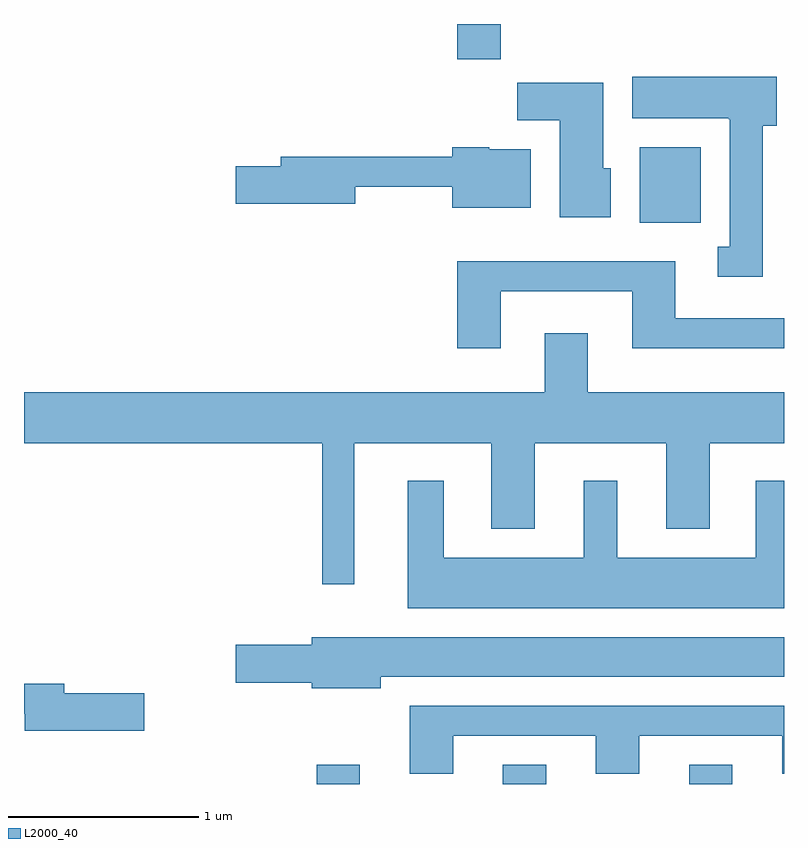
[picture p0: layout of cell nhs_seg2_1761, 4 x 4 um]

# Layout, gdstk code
import gdstk
lib = gdstk.Library(unit=1e-6, precision=1e-09)
def R(c, l, rs):  # rectangles x0, y0, x1, y1
    for r in rs: c.add(gdstk.rectangle(r[:2], r[2:], *l))
def A(c, l, x, y, w, h, nx, ny, dx, dy):  # array of equal rectangles
    R(c, l, [(x+i*dx, y+j*dy, x+i*dx+w, y+j*dy+h) for i in range(nx) for j in range(ny)])
def P(c, l, *ps):  # polygons
    for p in ps: c.add(gdstk.Polygon(p, *l))
L2000_40 = (2000, 40)

nhs_seg2_1761 = lib.new_cell('nhs_seg2_1761')
A(nhs_seg2_1761, L2000_40, 237.151, 1099.802, 0.228, 0.102, 3, 1, 0.98, 0)
R(nhs_seg2_1761, L2000_40, [(238.851,1102.756,239.174,1103.154), (237.891,1103.616,238.119,1103.802)])
P(nhs_seg2_1761, L2000_40, [(239.499,1103.266),(239.574,1103.266),(239.574,1103.524),(238.811,1103.524),(238.811,1103.306),(239.32,1103.306),(239.32,1103.3),(239.326,1103.3),(239.326,1102.629),(239.263,1102.629),(239.263,1102.471),(239.499,1102.471)],
  [(238.699,1103.044),(238.659,1103.044),(238.659,1103.494),(238.206,1103.494),(238.206,1103.296),(238.431,1103.296),(238.431,1102.786),(238.699,1102.786)],
  [(238.279,1103.144),(238.06,1103.144),(238.06,1103.154),(237.866,1103.154),(237.866,1103.104),(236.961,1103.104),(236.961,1103.054),(236.726,1103.054),(236.726,1102.856),(237.354,1102.856),(237.354,1102.946),(237.866,1102.946),(237.866,1102.836),(238.279,1102.836)],
  [(238.119,1102.396),(238.811,1102.396),(238.811,1102.096),(239.611,1102.096),(239.611,1102.254),(239.039,1102.254),(239.039,1102.554),(237.891,1102.554),(237.891,1102.096),(238.119,1102.096)],
  [(238.991,1101.146),(239.219,1101.146),(239.219,1101.596),(239.611,1101.596),(239.611,1101.864),(238.579,1101.864),(238.579,1102.174),(238.351,1102.174),(238.351,1101.864),(235.611,1101.864),(235.611,1101.596),(237.181,1101.596),(237.181,1100.853),(237.349,1100.853),(237.349,1101.596),(238.071,1101.596),(238.071,1101.146),(238.299,1101.146),(238.299,1101.596),(238.991,1101.596)],
  [(239.611,1101.399),(239.461,1101.399),(239.461,1100.994),(238.734,1100.994),(238.734,1101.399),(238.556,1101.399),(238.556,1100.994),(237.819,1100.994),(237.819,1101.399),(237.631,1101.399),(237.631,1100.726),(239.611,1100.726)],
  [(237.489,1100.366),(239.611,1100.366),(239.611,1100.574),(237.126,1100.574),(237.126,1100.534),(236.726,1100.534),(236.726,1100.336),(237.126,1100.336),(237.126,1100.306),(237.489,1100.306)],
  [(236.244,1100.279),(235.824,1100.279),(235.824,1100.329),(235.611,1100.329),(235.611,1100.171),(235.616,1100.171),(235.616,1100.081),(236.244,1100.081)],
  [(237.869,1100.056),(238.621,1100.056),(238.621,1099.856),(238.849,1099.856),(238.849,1100.056),(239.601,1100.056),(239.601,1099.856),(239.611,1099.856),(239.611,1100.214),(237.641,1100.214),(237.641,1099.856),(237.869,1099.856)])

lib.write_gds('nhs_seg2_1761.gds')
